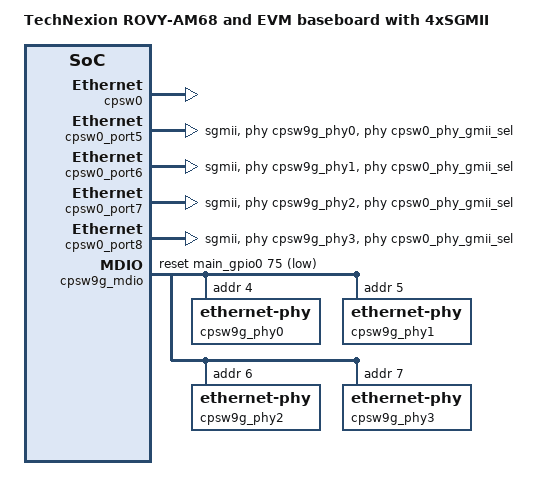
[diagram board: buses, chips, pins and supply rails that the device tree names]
// SPDX-License-Identifier: GPL-2.0
/*
 * DT Overlay for CPSW9G in SGMII mode using ROVY-M2-M-SGMII with ROVY-EVM board
 *
 * Copyright (C) 2022 Texas Instruments Incorporated - https://www.ti.com/
 * Copyright 2022 Technexion Ltd.
 *
 * Author: Richard Hu <richard.hu@technexion.com>
 *
 */

/dts-v1/;
/plugin/;

#include <dt-bindings/gpio/gpio.h>
#include <dt-bindings/phy/phy.h>
#include <dt-bindings/phy/phy-cadence.h>
#include <dt-bindings/pinctrl/k3.h>

/ {
	fragment@102 {
		target-path = "/";
		__overlay__ {
			model = "TechNexion ROVY-AM68 and EVM baseboard with 4xSGMII";
			aliases {
				ethernet1 = "/bus@100000/ethernet@c000000/ethernet-ports/port@5";
				ethernet2 = "/bus@100000/ethernet@c000000/ethernet-ports/port@6";
				ethernet3 = "/bus@100000/ethernet@c000000/ethernet-ports/port@7";
				ethernet4 = "/bus@100000/ethernet@c000000/ethernet-ports/port@8";
			};
		};
	};
};


&cpsw0 {
	status = "okay";
	pinctrl-names = "default";
	pinctrl-0 = <&mdio_pins_default>;
};

&cpsw0_port1 {
	status = "disabled";
};

&cpsw0_port2 {
	status = "disabled";
};

&cpsw0_port3 {
	status = "disabled";
};

&cpsw0_port4 {
	status = "disabled";
};

&cpsw0_port5 {
	phy-mode = "sgmii";
	mac-address = [00 00 00 00 00 00];
	phys = <&cpsw0_phy_gmii_sel 5>, <&serdes4_sgmii_link>;
	phy-names = "portmode", "serdes-phy";
	phy-handle = <&cpsw9g_phy0>;
};

&cpsw0_port6 {
	phy-mode = "sgmii";
	mac-address = [00 00 00 00 00 00];
	phys = <&cpsw0_phy_gmii_sel 6>, <&serdes4_sgmii_link>;
	phy-names = "portmode", "serdes-phy";
	phy-handle = <&cpsw9g_phy1>;
};

&cpsw0_port7 {
	phy-mode = "sgmii";
	mac-address = [00 00 00 00 00 00];
	phys = <&cpsw0_phy_gmii_sel 7>, <&serdes4_sgmii_link>;
	phy-names = "portmode", "serdes-phy";
	phy-handle = <&cpsw9g_phy2>;
};

&cpsw0_port8 {
	phy-mode = "sgmii";
	mac-address = [00 00 00 00 00 00];
	phys = <&cpsw0_phy_gmii_sel 8>, <&serdes4_sgmii_link>;
	phy-names = "portmode", "serdes-phy";
	phy-handle = <&cpsw9g_phy3>;
};

&cpsw9g_mdio {
	bus_freq = <1000000>;
	pinctrl-names = "default";
	pinctrl-0 = <&main_sgmii_phy_reset_pins_default>;
	reset-gpios = <&main_gpio0 75 GPIO_ACTIVE_LOW>;
	reset-assert-us = <35000>;
	reset-deassert-us = <75000>;
	#address-cells = <1>;
	#size-cells = <0>;

	cpsw9g_phy0: ethernet-phy@4 {
		reg = <4>;
		//ti,rx-internal-delay = <DP83867_RGMIIDCTL_2_00_NS>;
		//ti,fifo-depth = <DP83867_PHYCR_FIFO_DEPTH_4_B_NIB>;
		//ti,min-output-impedance;
	};
	cpsw9g_phy1: ethernet-phy@5 {
		reg = <5>;
		//ti,rx-internal-delay = <DP83867_RGMIIDCTL_2_00_NS>;
		//ti,fifo-depth = <DP83867_PHYCR_FIFO_DEPTH_4_B_NIB>;
		//ti,min-output-impedance;
	};
	cpsw9g_phy2: ethernet-phy@6 {
		reg = <6>;
		//ti,rx-internal-delay = <DP83867_RGMIIDCTL_2_00_NS>;
		//ti,fifo-depth = <DP83867_PHYCR_FIFO_DEPTH_4_B_NIB>;
		//ti,min-output-impedance;
	};
	cpsw9g_phy3: ethernet-phy@7 {
		reg = <7>;
		//ti,rx-internal-delay = <DP83867_RGMIIDCTL_2_00_NS>;
		//ti,fifo-depth = <DP83867_PHYCR_FIFO_DEPTH_4_B_NIB>;
		//ti,min-output-impedance;
	};
};


&cpsw9g_virt_mac {
	status = "disabled";
};


&main_pmx0 {
	mdio_pins_default: mdio-pins-default {
		pinctrl-single,pins = <
			J721E_IOPAD(0x1bc, PIN_OUTPUT, 0) /* (V24) MDIO0_MDC */
			J721E_IOPAD(0x1b8, PIN_INPUT, 0) /* (V26) MDIO0_MDIO */
		>;
	};

	main_sgmii_phy_reset_pins_default: main-sgmii-phy-reset-pins-default {
		pinctrl-single,pins = <
			J721E_IOPAD(0x130, PIN_OUTPUT, 7) /* (AF27) PRG0_PRU1_GPO12.GPIO0_75 */
		>;
	};
};

&main_r5fss0_core0 {
	firmware-name = "pdk-ipc/ipc_echo_test_mcu2_0_release_strip.xer5f";
};
